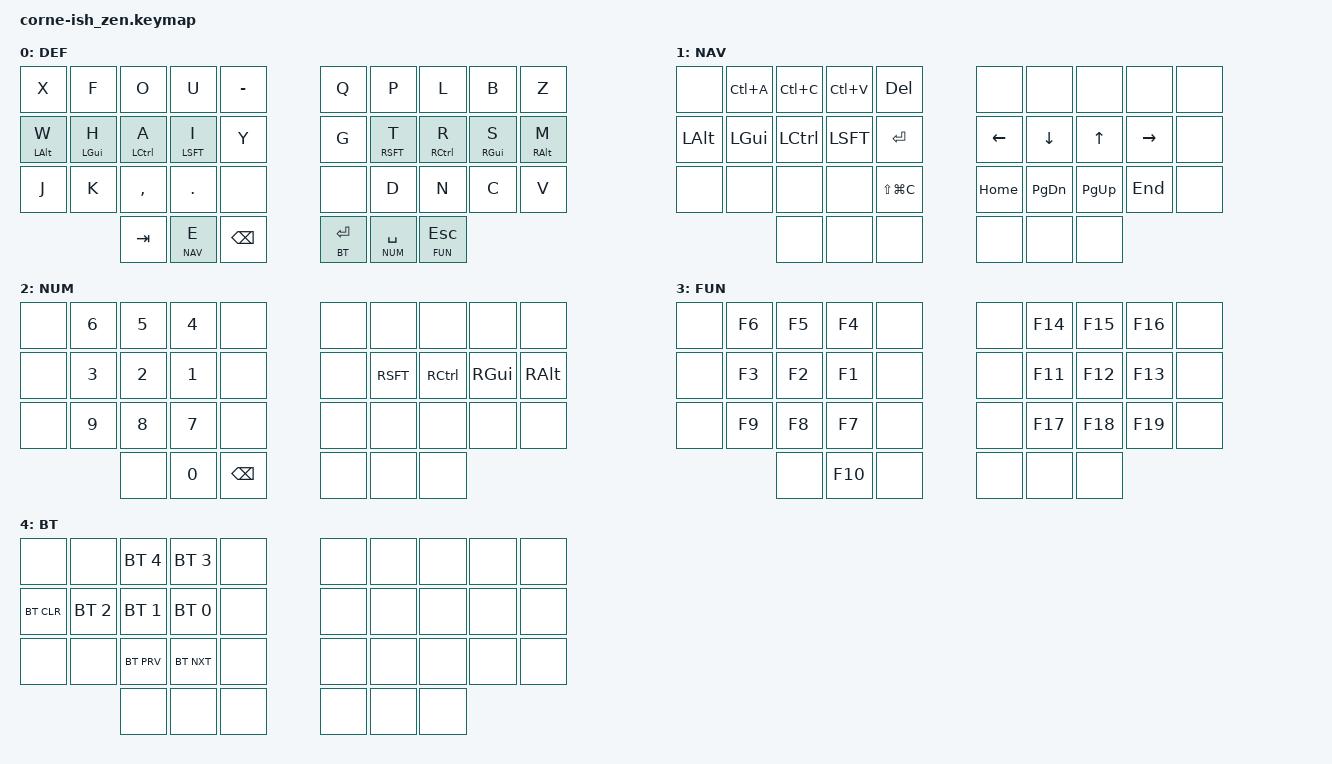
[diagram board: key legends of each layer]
/*
*
* Copyright (c) 2021 lowprokb.ca
* SPDX-License-Identifier: MIT
*
*/

#include <behaviors.dtsi>
#include <dt-bindings/zmk/keys.h>
#include <dt-bindings/zmk/bt.h>

#define DEF 0
#define NAV 1
#define NUM 2
#define FUN 3
#define BT  4

&lt { quick_tap_ms = <200>; };

/ {
    chosen {
      zmk,matrix_transform = &five_column_transform;
    };

    combos {
        compatible = "zmk,combos";
        combo_tilde {
            timeout-ms = <50>;
            key-positions = <0 1>;
            bindings = <&kp TILDE>;
            layers = <0>;
        };
        combo_bslh {
            timeout-ms = <50>;
            key-positions = <1 2>;
            bindings = <&kp BSLH>;
            layers = <0>;
        };
        combo_lbkt {
            timeout-ms = <50>;
            key-positions = <2 3>;
            bindings = <&kp LBKT>;
            layers = <0>;
        };
        combo_plus {
            timeout-ms = <50>;
            key-positions = <3 4>;
            bindings = <&kp PLUS>;
            layers = <0>;
        };
        combo_at1 {
            timeout-ms = <50>;
            key-positions = <5 6>;
            bindings = <&kp AT>;
            layers = <0>;
        };
        combo_rbkt {
            timeout-ms = <50>;
            key-positions = <6 7>;
            bindings = <&kp RBKT>;
            layers = <0>;
        };
        combo_fslh {
            timeout-ms = <50>;
            key-positions = <7 8>;
            bindings = <&kp FSLH>;
            layers = <0>;
        };
        combo_caret {
            timeout-ms = <50>;
            key-positions = <8 9>;
            bindings = <&kp CARET>;
            layers = <0>;
        };
        combo_lessthan {
            timeout-ms = <50>;
            key-positions = <10 11>;
            bindings = <&kp LT>;
            layers = <0>;
        };
        combo_semi {
            timeout-ms = <50>;
            key-positions = <11 12>;
            bindings = <&kp SEMI>;
            layers = <0>;
        };
        combo_lpar {
            timeout-ms = <50>;
            key-positions = <12 13>;
            bindings = <&kp LPAR>;
            layers = <0>;
        };
        combo_qmark {
            timeout-ms = <50>;
            key-positions = <13 14>;
            bindings = <&kp QMARK>;
            layers = <0>;
        };
        combo_excl {
            timeout-ms = <50>;
            key-positions = <15 16>;
            bindings = <&kp EXCL>;
            layers = <0>;
        };
        combo_rpar {
            timeout-ms = <50>;
            key-positions = <16 17>;
            bindings = <&kp RPAR>;
            layers = <0>;
        };
        combo_colon {
            timeout-ms = <50>;
            key-positions = <17 18>;
            bindings = <&kp COLON>;
            layers = <0>;
        };
        combo_greaterthan {
            timeout-ms = <50>;
            key-positions = <18 19>;
            bindings = <&kp GT>;
            layers = <0>;
        };
        combo_at2 {
            timeout-ms = <50>;
            key-positions = <20 21>;
            bindings = <&kp AT>;
            layers = <0>;
        };
        combo_hash {
            timeout-ms = <50>;
            key-positions = <21 22>;
            bindings = <&kp HASH>;
            layers = <0>;
        };
        combo_lbrc {
            timeout-ms = <50>;
            key-positions = <22 23>;
            bindings = <&kp LBRC>;
            layers = <0>;
        };
        combo_dllr {
            timeout-ms = <50>;
            key-positions = <23 24>;
            bindings = <&kp DLLR>;
            layers = <0>;
        };
        combo_pipe {
            timeout-ms = <50>;
            key-positions = <25 26>;
            bindings = <&kp PIPE>;
            layers = <0>;
        };
        combo_rbrc {
            timeout-ms = <50>;
            key-positions = <26 27>;
            bindings = <&kp RBRC>;
            layers = <0>;
        };
        combo_prcnt {
            timeout-ms = <50>;
            key-positions = <27 28>;
            bindings = <&kp PRCNT>;
            layers = <0>;
        };
        combo_grave {
            timeout-ms = <50>;
            key-positions = <28 29>;
            bindings = <&kp GRAVE>;
            layers = <0>;
        };

        combo_astrk {
            timeout-ms = <50>;
            key-positions = <1 2 3>;
            bindings = <&kp ASTRK>;
            layers = <0>;
        };
        combo_under {
            timeout-ms = <50>;
            key-positions = <6 7 8>;
            bindings = <&kp UNDER>;
            layers = <0>;
        };
        combo_equal {
            timeout-ms = <50>;
            key-positions = <11 12 13>;
            bindings = <&kp EQUAL>;
            layers = <0>;
        };
        combo_amps {
            timeout-ms = <50>;
            key-positions = <16 17 18>;
            bindings = <&kp AMPS>;
            layers = <0>;
        };
        combo_sqt {
            timeout-ms = <50>;
            key-positions = <21 22 23>;
            bindings = <&kp SQT>;
            layers = <0>;
        };
        combo_dqt {
            timeout-ms = <50>;
            key-positions = <26 27 28>;
            bindings = <&kp DQT>;
            layers = <0>;
        };
    };
    
    behaviors {
        hm: homerow_mods {
            compatible = "zmk,behavior-hold-tap";
            label = "HOMEROW_MODS";
            #binding-cells = <2>;
            tapping-term-ms = <200>;
            quick_tap_ms = <200>;
            flavor = "tap-preferred";
            bindings = <&kp>, <&kp>;
        };
    };

    keymap {
        compatible = "zmk,keymap";

        default_layer {
            label = "DEF";
            bindings = <
&kp X      &kp F      &kp O      &kp U      &kp MINUS    &kp Q      &kp P         &kp L       &kp B      &kp Z
&hm LALT W &hm LGUI H &hm LCTL A &hm LSFT I &kp Y        &kp G      &hm RSFT T    &hm RCTL R  &hm RGUI S &hm RALT M
&kp J      &kp K      &kp COMMA  &kp DOT    &none        &none      &kp D         &kp N       &kp C      &kp V
                      &kp TAB    &lt NAV E  &kp BSPC     &lt BT RET &lt NUM SPACE &lt FUN ESC
            >;
        };

        nav_layer {
            label = "NAV";
            bindings = <
&none    &kp LC(A) &kp LC(C) &kp LC(V) &kp DEL          &none    &none     &none     &none     &none
&kp LALT &kp LGUI  &kp LCTL  &kp LSFT  &kp RET          &kp LEFT &kp DOWN  &kp UP    &kp RIGHT &none
&none    &none     &none     &none     &kp LS(LG(C))    &kp HOME &kp PG_DN &kp PG_UP &kp END   &none
                   &none     &none     &none            &none   &none    &none
            >;
        };

        num_layer {
            label = "NUM";
            bindings = <
&none &kp N6 &kp N5 &kp N4 &none    &none &none    &none    &none    &none
&none &kp N3 &kp N2 &kp N1 &none    &none &kp RSFT &kp RCTL &kp RGUI &kp RALT
&none &kp N9 &kp N8 &kp N7 &none    &none &none    &none    &none    &none
             &none  &kp N0 &kp BSPC &none &none    &none
            >;
        };

        fun_layer {
            label = "FUN";
            bindings = <
&none &kp F6 &kp F5 &kp F4  &none    &none &kp F14 &kp F15 &kp F16 &none
&none &kp F3 &kp F2 &kp F1  &none    &none &kp F11 &kp F12 &kp F13 &none
&none &kp F9 &kp F8 &kp F7  &none    &none &kp F17 &kp F18 &kp F19 &none
             &none  &kp F10 &none    &none &none   &none
            >;
        };

        bt_layer {
            label = "BT";
            bindings = <
&none      &none        &bt BT_SEL 4 &bt BT_SEL 3 &none     &none &none &none &none &none
&bt BT_CLR &bt BT_SEL 2 &bt BT_SEL 1 &bt BT_SEL 0 &none     &none &none &none &none &none
&none      &none        &bt BT_PRV   &bt BT_NXT   &none     &none &none &none &none &none
                        &none        &none        &none     &none &none &none
            >;
        };
    };
};

